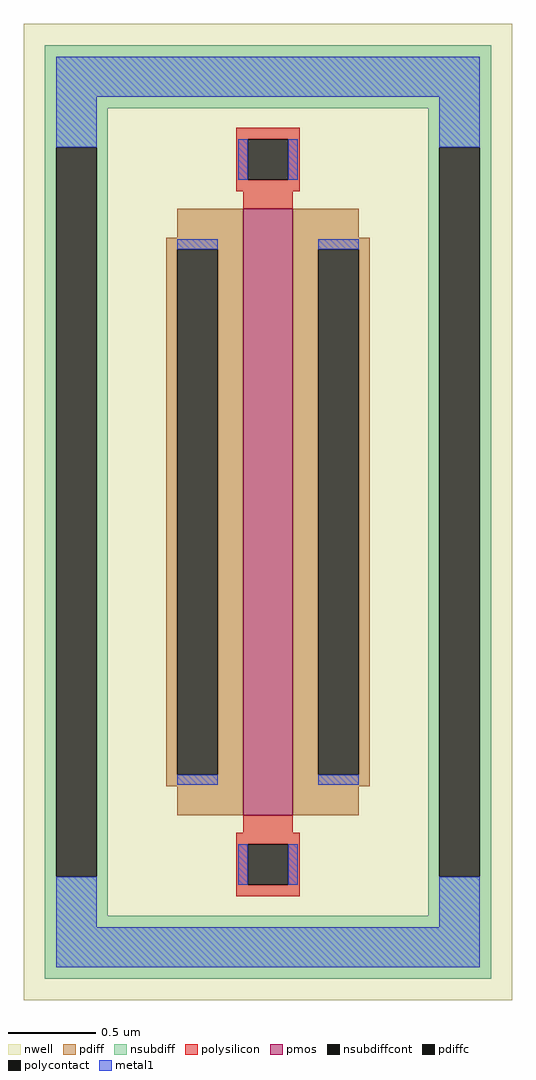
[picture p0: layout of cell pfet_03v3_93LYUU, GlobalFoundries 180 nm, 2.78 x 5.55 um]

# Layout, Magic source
magic
tech gf180mcuD
magscale 1 10
<< nwell >>
rect -278 -555 278 555
<< pmos >>
rect -28 -345 28 345
<< pdiff >>
rect -103 312 -28 345
rect -116 299 -28 312
rect -116 -299 -103 299
rect -57 -299 -28 299
rect -116 -312 -28 -299
rect -103 -345 -28 -312
rect 28 312 103 345
rect 28 299 116 312
rect 28 -299 57 299
rect 103 -299 116 299
rect 28 -312 116 -299
rect 28 -345 103 -312
<< pdiffc >>
rect -103 -299 -57 299
rect 57 -299 103 299
<< nsubdiff >>
rect -254 459 254 531
rect -254 415 -182 459
rect -254 -415 -241 415
rect -195 -415 -182 415
rect 182 415 254 459
rect -254 -459 -182 -415
rect 182 -415 195 415
rect 241 -415 254 415
rect 182 -459 254 -415
rect -254 -531 254 -459
<< nsubdiffcont >>
rect -241 -415 -195 415
rect 195 -415 241 415
<< polysilicon >>
rect -36 424 36 437
rect -36 378 -23 424
rect 23 378 36 424
rect -36 365 36 378
rect -28 345 28 365
rect -28 -365 28 -345
rect -36 -378 36 -365
rect -36 -424 -23 -378
rect 23 -424 36 -378
rect -36 -437 36 -424
<< polycontact >>
rect -23 378 23 424
rect -23 -424 23 -378
<< metal1 >>
rect -241 472 241 518
rect -241 415 -195 472
rect -34 378 -23 424
rect 23 378 34 424
rect 195 415 241 472
rect -103 299 -57 310
rect -103 -310 -57 -299
rect 57 299 103 310
rect 57 -310 103 -299
rect -241 -472 -195 -415
rect -34 -424 -23 -378
rect 23 -424 34 -378
rect 195 -472 241 -415
rect -241 -518 241 -472
<< properties >>
string FIXED_BBOX -218 -495 218 495
string gencell pfet_03v3
string library gf180mcu
string parameters w 3.45 l 0.280 m 1 nf 1 diffcov 90 polycov 100 guard 1 glc 1 grc 1 gtc 0 gbc 0 tbcov 100 rlcov 100 topc 1 botc 1 poverlap 0 doverlap 1 lmin 0.28 wmin 0.22 class mosfet full_metal 1 compatible {pfet_03v3 pfet_05v0 pfet_06v0}
<< end >>
